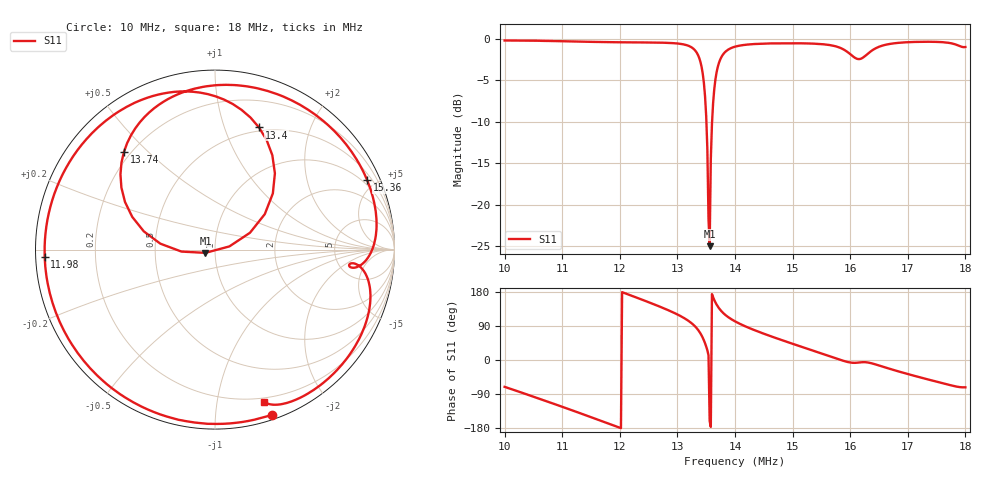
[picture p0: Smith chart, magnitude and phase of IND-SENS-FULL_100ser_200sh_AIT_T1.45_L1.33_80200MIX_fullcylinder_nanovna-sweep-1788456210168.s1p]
! NanoVNA Web complex sweep
! Processing: original sample grid, no browser smoothing
# Hz S RI R 50
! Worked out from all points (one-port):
!   401 points, 10 MHz to 18 MHz, reference 50 ohm
!   lowest |S11| = -25.0 dB at 13.56 MHz (marker M1), VSWR 1.12, Z = 44.9 - j1.64 ohm
!   |S11| at or under -10 dB: 13.5 MHz to 13.6 MHz (98.95 kHz wide, 0.73 % of centre)
!   S11 on the Smith chart (normalised r, x): 10 MHz: 0.04, -1.41; 11.98 MHz: 0.03, -0.02; 13.4 MHz: 0.46, +1.32; 13.74 MHz: 0.17, +0.42; 15.36 MHz: 0.76, +4.48; 18 MHz: 0.17, -1.36
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1e7  0.32 -0.9193
1.05e7  -0.1141 -0.9634
1.1e7  -0.531 -0.804
1.152e7  -0.8425 -0.4499
1.198e7  -0.949 -0.0401
1.2e7  -0.9492 -0.0214
1.252e7  -0.8308 0.4534
1.3e7  -0.4695 0.8071
1.326e7  -0.0823 0.8746
1.34e7  0.2451 0.6807
1.348e7  0.3223 0.3127
1.352e7  0.1949 0.0938
1.356e7  -0.0534 -0.0182
1.358e7  -0.1869 -0.011
1.364e7  -0.4613 0.1825
1.374e7  -0.5078 0.5425
1.386e7  -0.3664 0.7644
1.4e7  -0.1863 0.8737
1.442e7  0.257 0.8935
1.5e7  0.6875 0.6366
1.536e7  0.848 0.3864
1.572e7  0.8978 0.0944
1.6e7  0.8004 -0.0915
1.632e7  0.8121 -0.0988
1.66e7  0.8641 -0.3008
1.7e7  0.7586 -0.5729
1.758e7  0.4719 -0.8267
1.8e7  0.273 -0.8465
